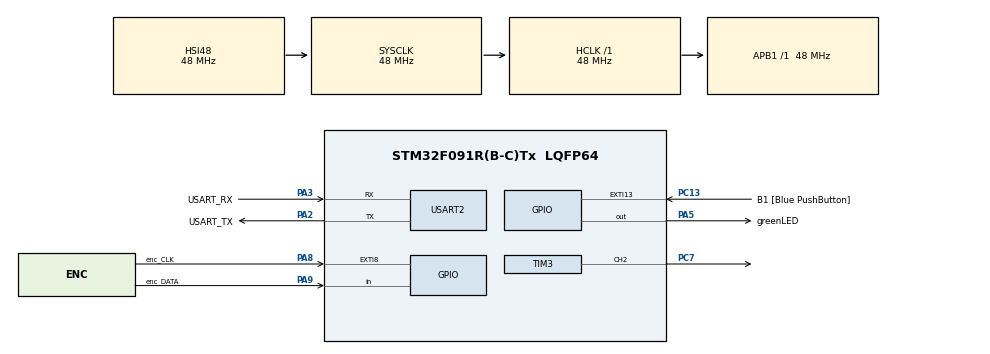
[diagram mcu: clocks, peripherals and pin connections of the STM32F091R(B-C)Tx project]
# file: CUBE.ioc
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FREERTOS.Tasks01=defaultTask,24,128,StartDefaultTask,Default,NULL,Dynamic,NULL,NULL
Mcu.Family=STM32F0
Mcu.Name=STM32F091R(B-C)Tx
Mcu.Package=LQFP64
NVIC.EXTI4_15_IRQn=true\:3\:0\:false\:false\:true\:true\:true\:true\:true
NVIC.TIM15_IRQn=true\:3\:0\:false\:false\:true\:true\:true\:true\:true
PA13.GPIO_Label=TMS
PA13.Signal=SYS_SWDIO
PA14.GPIO_Label=TCK
PA14.Signal=SYS_SWCLK
PA2.GPIO_Label=USART_TX
PA2.GPIO_Mode=GPIO_MODE_AF_PP
PA2.GPIO_PuPd=GPIO_NOPULL
PA2.GPIO_Speed=GPIO_SPEED_FREQ_LOW
PA2.Mode=Asynchronous
PA2.Signal=USART2_TX
PA3.GPIO_Label=USART_RX
PA3.GPIO_Mode=GPIO_MODE_AF_PP
PA3.GPIO_PuPd=GPIO_NOPULL
PA3.GPIO_Speed=GPIO_SPEED_FREQ_LOW
PA3.Mode=Asynchronous
PA3.Signal=USART2_RX
PA5.GPIO_Label=greenLED
PA5.GPIO_Mode=GPIO_MODE_OUTPUT_PP
PA5.GPIO_PuPd=GPIO_NOPULL
PA5.GPIO_Speed=GPIO_SPEED_FREQ_LOW
PA5.Signal=GPIO_Output
PA8.GPIO_Label=enc_CLK
PA8.GPIO_ModeDefaultEXTI=GPIO_MODE_IT_RISING_FALLING
PA8.Signal=GPXTI8
PA9.GPIO_Label=enc_DATA
PA9.Signal=GPIO_Input
PC13.GPIO_Label=B1 [Blue PushButton]
PC13.GPIO_ModeDefaultEXTI=GPIO_MODE_IT_FALLING
PC13.Signal=GPXTI13
PC14OSC32_IN.Signal=RCC_OSC32_IN
PC15OSC32_OUT.Signal=RCC_OSC32_OUT
PC7.Signal=S_TIM3_CH2
PF0-OSC_IN.Signal=RCC_OSC_IN
PF1-OSC_OUT.Signal=RCC_OSC_OUT
ProjectManager.HeapSize=0x200
ProjectManager.StackSize=0x400
ProjectManager.TargetToolchain=STM32CubeIDE
RCC.AHBFreq_Value=48000000
RCC.APB1Freq_Value=48000000
RCC.APB1TimFreq_Value=48000000
RCC.FLatency-AdvancedSettings=FLASH_LATENCY_1
RCC.HCLKFreq_Value=48000000
RCC.PLLDivider=RCC_PREDIV_DIV2
RCC.PLLMUL=RCC_PLL_MUL12
RCC.PREFETCH_ENABLE-AdvancedSettings=1
RCC.SYSCLKFreq_VALUE=48000000
RCC.SYSCLKSource=RCC_SYSCLKSOURCE_HSI48
SH.S_TIM3_CH2.0=TIM3_CH2,PWM Generation2 CH2
TIM15.Period=60000
TIM3.AutoReloadPreload=TIM_AUTORELOAD_PRELOAD_ENABLE
TIM3.Channel-PWM\ Generation2\ CH2=TIM_CHANNEL_2
TIM3.OCFastMode_PWM-PWM\ Generation2\ CH2=TIM_OCFAST_DISABLE
TIM3.Period=3600
TIM3.Prescaler=266
TIM3.Pulse-PWM\ Generation2\ CH2=249
USART2.VirtualMode-Asynchronous=VM_ASYNC
VP_FREERTOS_VS_CMSIS_V2.Mode=CMSIS_V2
VP_TIM15_VS_ClockSourceINT.Mode=Internal
VP_TIM3_VS_ClockSourceINT.Mode=Internal
board=NUCLEO-F091RC

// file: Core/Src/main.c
/* USER CODE BEGIN Header */
/**
  ******************************************************************************
  * @file           : main.c
  * @brief          : Main program body
  ******************************************************************************
  * @attention
  *
  * Copyright (c) 2024 STMicroelectronics.
  * All rights reserved.
  *
  * This software is licensed under terms that can be found in the LICENSE file
  * in the root directory of this software component.
  * If no LICENSE file comes with this software, it is provided AS-IS.
  *
  ******************************************************************************
  */
/* USER CODE END Header */
#include "main.h"
#include "cmsis_os.h"

/* USER CODE BEGIN Includes */
#include "servo.h"
#include "encoder.h"
/* USER CODE END Includes */

/* USER CODE BEGIN PD */
#define MAIN

/* USER CODE END PD */

TIM_HandleTypeDef htim3;
TIM_HandleTypeDef htim15;

UART_HandleTypeDef huart2;

/* Definitions for defaultTask */
osThreadId_t defaultTaskHandle;
const osThreadAttr_t defaultTask_attributes = {
  .name = "defaultTask",
  .stack_size = 128 * 4,
  .priority = (osPriority_t) osPriorityNormal,
};

void SystemClock_Config(void);
static void MX_GPIO_Init(void);
static void MX_USART2_UART_Init(void);
static void MX_TIM3_Init(void);
static void MX_TIM15_Init(void);
void StartDefaultTask(void *argument);

int main(void)
{

  /* MCU Configuration--------------------------------------------------------*/

  /* Reset of all peripherals, Initializes the Flash interface and the Systick. */
  HAL_Init();

  /* Configure the system clock */
  SystemClock_Config();

  /* Initialize all configured peripherals */
  MX_GPIO_Init();
  MX_USART2_UART_Init();
  MX_TIM3_Init();
  MX_TIM15_Init();
  /* USER CODE BEGIN 2 */
  encoderInit(); //Initialize b4 interrupt or will crash
  HAL_TIM_PWM_Start(&htim3, TIM_CHANNEL_2);
  HAL_TIM_Base_Start_IT(&htim15);

  /* USER CODE END 2 */

  /* Init scheduler */
  osKernelInitialize();

  /* Create the thread(s) */
  /* creation of defaultTask */
  defaultTaskHandle = osThreadNew(StartDefaultTask, NULL, &defaultTask_attributes);

  /* Start scheduler */
  osKernelStart();

  /* We should never get here as control is now taken by the scheduler */
  /* Infinite loop */
  while (1)
  {

  }
}

void SystemClock_Config(void)
{
  RCC_OscInitTypeDef RCC_OscInitStruct = {0};
  RCC_ClkInitTypeDef RCC_ClkInitStruct = {0};
  RCC_PeriphCLKInitTypeDef PeriphClkInit = {0};

  /** Initializes the RCC Oscillators according to the specified parameters
  * in the RCC_OscInitTypeDef structure.
  */
  RCC_OscInitStruct.OscillatorType = RCC_OSCILLATORTYPE_HSI48;
  RCC_OscInitStruct.HSI48State = RCC_HSI48_ON;
  RCC_OscInitStruct.PLL.PLLState = RCC_PLL_NONE;
  if (HAL_RCC_OscConfig(&RCC_OscInitStruct) != HAL_OK)
  {
    Error_Handler();
  }

  /** Initializes the CPU, AHB and APB buses clocks
  */
  RCC_ClkInitStruct.ClockType = RCC_CLOCKTYPE_HCLK|RCC_CLOCKTYPE_SYSCLK
                              |RCC_CLOCKTYPE_PCLK1;
  RCC_ClkInitStruct.SYSCLKSource = RCC_SYSCLKSOURCE_HSI48;
  RCC_ClkInitStruct.AHBCLKDivider = RCC_SYSCLK_DIV1;
  RCC_ClkInitStruct.APB1CLKDivider = RCC_HCLK_DIV1;

  if (HAL_RCC_ClockConfig(&RCC_ClkInitStruct, FLASH_LATENCY_1) != HAL_OK)
  {
    Error_Handler();
  }
  PeriphClkInit.PeriphClockSelection = RCC_PERIPHCLK_USART2;
  PeriphClkInit.Usart2ClockSelection = RCC_USART2CLKSOURCE_PCLK1;
  if (HAL_RCCEx_PeriphCLKConfig(&PeriphClkInit) != HAL_OK)
  {
    Error_Handler();
  }
}

static void MX_TIM3_Init(void)
{

  TIM_ClockConfigTypeDef sClockSourceConfig = {0};
  TIM_MasterConfigTypeDef sMasterConfig = {0};
  TIM_OC_InitTypeDef sConfigOC = {0};

  htim3.Instance = TIM3;
  htim3.Init.Prescaler = 266;
  htim3.Init.CounterMode = TIM_COUNTERMODE_UP;
  htim3.Init.Period = 3600;
  htim3.Init.ClockDivision = TIM_CLOCKDIVISION_DIV1;
  htim3.Init.AutoReloadPreload = TIM_AUTORELOAD_PRELOAD_ENABLE;
  if (HAL_TIM_Base_Init(&htim3) != HAL_OK)
  {
    Error_Handler();
  }
  sClockSourceConfig.ClockSource = TIM_CLOCKSOURCE_INTERNAL;
  if (HAL_TIM_ConfigClockSource(&htim3, &sClockSourceConfig) != HAL_OK)
  {
    Error_Handler();
  }
  if (HAL_TIM_PWM_Init(&htim3) != HAL_OK)
  {
    Error_Handler();
  }
  sMasterConfig.MasterOutputTrigger = TIM_TRGO_RESET;
  sMasterConfig.MasterSlaveMode = TIM_MASTERSLAVEMODE_DISABLE;
  if (HAL_TIMEx_MasterConfigSynchronization(&htim3, &sMasterConfig) != HAL_OK)
  {
    Error_Handler();
  }
  sConfigOC.OCMode = TIM_OCMODE_PWM1;
  sConfigOC.Pulse = 249;
  sConfigOC.OCPolarity = TIM_OCPOLARITY_HIGH;
  sConfigOC.OCFastMode = TIM_OCFAST_DISABLE;
  if (HAL_TIM_PWM_ConfigChannel(&htim3, &sConfigOC, TIM_CHANNEL_2) != HAL_OK)
  {
    Error_Handler();
  }
  HAL_TIM_MspPostInit(&htim3);

}

static void MX_TIM15_Init(void)
{

  TIM_ClockConfigTypeDef sClockSourceConfig = {0};
  TIM_MasterConfigTypeDef sMasterConfig = {0};

  htim15.Instance = TIM15;
  htim15.Init.Prescaler = 0;
  htim15.Init.CounterMode = TIM_COUNTERMODE_UP;
  htim15.Init.Period = 60000;
  htim15.Init.ClockDivision = TIM_CLOCKDIVISION_DIV1;
  htim15.Init.RepetitionCounter = 0;
  htim15.Init.AutoReloadPreload = TIM_AUTORELOAD_PRELOAD_DISABLE;
  if (HAL_TIM_Base_Init(&htim15) != HAL_OK)
  {
    Error_Handler();
  }
  sClockSourceConfig.ClockSource = TIM_CLOCKSOURCE_INTERNAL;
  if (HAL_TIM_ConfigClockSource(&htim15, &sClockSourceConfig) != HAL_OK)
  {
    Error_Handler();
  }
  sMasterConfig.MasterOutputTrigger = TIM_TRGO_RESET;
  sMasterConfig.MasterSlaveMode = TIM_MASTERSLAVEMODE_DISABLE;
  if (HAL_TIMEx_MasterConfigSynchronization(&htim15, &sMasterConfig) != HAL_OK)
  {
    Error_Handler();
  }

}

static void MX_USART2_UART_Init(void)
{

  huart2.Instance = USART2;
  huart2.Init.BaudRate = 115200;
  huart2.Init.WordLength = UART_WORDLENGTH_8B;
  huart2.Init.StopBits = UART_STOPBITS_1;
  huart2.Init.Parity = UART_PARITY_NONE;
  huart2.Init.Mode = UART_MODE_TX_RX;
  huart2.Init.HwFlowCtl = UART_HWCONTROL_NONE;
  huart2.Init.OverSampling = UART_OVERSAMPLING_16;
  huart2.Init.OneBitSampling = UART_ONE_BIT_SAMPLE_DISABLE;
  huart2.AdvancedInit.AdvFeatureInit = UART_ADVFEATURE_NO_INIT;
  if (HAL_UART_Init(&huart2) != HAL_OK)
  {
    Error_Handler();
  }

}

static void MX_GPIO_Init(void)
{
  GPIO_InitTypeDef GPIO_InitStruct = {0};

  /* GPIO Ports Clock Enable */
  __HAL_RCC_GPIOC_CLK_ENABLE();
  __HAL_RCC_GPIOF_CLK_ENABLE();
  __HAL_RCC_GPIOA_CLK_ENABLE();

  /*Configure GPIO pin Output Level */
  HAL_GPIO_WritePin(greenLED_GPIO_Port, greenLED_Pin, GPIO_PIN_RESET);

  /*Configure GPIO pin : B1_Pin */
  GPIO_InitStruct.Pin = B1_Pin;
  GPIO_InitStruct.Mode = GPIO_MODE_IT_FALLING;
  GPIO_InitStruct.Pull = GPIO_NOPULL;
  HAL_GPIO_Init(B1_GPIO_Port, &GPIO_InitStruct);

  /*Configure GPIO pin : greenLED_Pin */
  GPIO_InitStruct.Pin = greenLED_Pin;
  GPIO_InitStruct.Mode = GPIO_MODE_OUTPUT_PP;
  GPIO_InitStruct.Pull = GPIO_NOPULL;
  GPIO_InitStruct.Speed = GPIO_SPEED_FREQ_LOW;
  HAL_GPIO_Init(greenLED_GPIO_Port, &GPIO_InitStruct);

  /*Configure GPIO pin : enc_CLK_Pin */
  GPIO_InitStruct.Pin = enc_CLK_Pin;
  GPIO_InitStruct.Mode = GPIO_MODE_IT_RISING_FALLING;
  GPIO_InitStruct.Pull = GPIO_NOPULL;
  HAL_GPIO_Init(enc_CLK_GPIO_Port, &GPIO_InitStruct);

  /*Configure GPIO pin : enc_DATA_Pin */
  GPIO_InitStruct.Pin = enc_DATA_Pin;
  GPIO_InitStruct.Mode = GPIO_MODE_INPUT;
  GPIO_InitStruct.Pull = GPIO_NOPULL;
  HAL_GPIO_Init(enc_DATA_GPIO_Port, &GPIO_InitStruct);

  /* EXTI interrupt init*/
  HAL_NVIC_SetPriority(EXTI4_15_IRQn, 3, 0);
  HAL_NVIC_EnableIRQ(EXTI4_15_IRQn);

}

void StartDefaultTask(void *argument)
{
  /* USER CODE BEGIN 5 */
	servo.initServo();
	int LR=0;
  /* Infinite loop */
  for(;;)
  {
	  if (LR)
	  {
		  servo.setRotation(++servo.rotation);
	  }else {
		  servo.setRotation(--servo.rotation);
	  }

    if (servo.rotation==180) {
    	LR = 0;
	}else if(servo.rotation==0) {
		LR = 1;
	}
    //For current clocks 90 is 0deg 451 is 180deg 270 is center
	 osDelay(25);
  }
  /* USER CODE END 5 */
}

void Error_Handler(void)
{
  __disable_irq();
  while (1)
  {
  }
}
